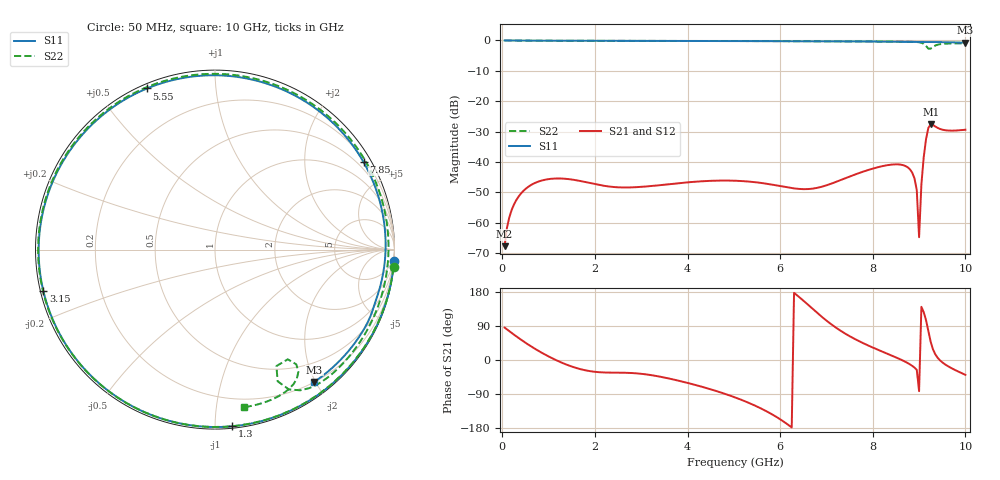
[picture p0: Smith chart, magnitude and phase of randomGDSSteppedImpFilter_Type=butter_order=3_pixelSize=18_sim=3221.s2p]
! freq	dB(S11)	phase(S11)	dB(S12)	phase(S12)
!  dB(S21)	phase(S21)	dB(S22)	phase(S22)
!S-par simulation data
#  GHz  S  DB  R 50
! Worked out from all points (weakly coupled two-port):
!   200 points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, 50 MHz to 10 GHz, reference 50 ohm
!   highest |S21| = -27.63 dB at 9.25 GHz (marker M1); lowest = -67.8 dB at 50 MHz (marker M2)
!   lowest |S11| = -0.7 dB at 10 GHz (marker M3), VSWR 24.36, Z = 10.2 - j99.2 ohm
!   |S11| at or under -10 dB: nowhere
!   |S22| runs from -2.7 to 0.0 dB; largest |S21 - S12| = 0
!   S11 on the Smith chart (normalised r, x): 50 MHz: 0, -32; 1.3 GHz: 0.01, -1.10; 3.15 GHz: 0.01, -0.12; 5.55 GHz: 0.02, +0.66; 7.85 GHz: 0.29, +3.65; 10 GHz: 0.20, -1.98
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0.05  -0.00 -3.6  -67.76 85.5  -67.76 85.5  -0.00 -5.7
0.15  -0.01 -10.6  -58.34 76.2  -58.34 76.2  -0.02 -17.0
0.4  -0.04 -27.9  -50.47 54.0  -50.47 54.0  -0.06 -44.1
0.8  -0.07 -54.4  -46.38 22.8  -46.38 22.8  -0.10 -82.4
1.3  -0.09 -84.3  -45.50 -7.9  -45.50 -7.9  -0.11 -120.4
1.75  -0.11 -108.0  -46.50 -26.0  -46.50 -26.0  -0.12 -147.3
2.4  -0.13 -137.4  -48.27 -33.4  -48.27 -33.4  -0.12 -178.7
3.15  -0.14 -166.4  -48.05 -38.7  -48.05 -38.7  -0.14 150.9
3.4  -0.15 -175.4  -47.67 -43.9  -47.67 -43.9  -0.14 141.5
5.05  -0.21 129.5  -46.22 -99.8  -46.22 -99.8  -0.19 82.8
5.55  -0.23 112.9  -46.86 -125.7  -46.86 -125.7  -0.20 65.3
6.7  -0.28 73.0  -48.81 135.2  -48.81 135.2  -0.25 25.4
7.85  -0.35 30.5  -42.92 41.1  -42.92 41.1  -0.32 -13.5
8.35  -0.40 11.3  -41.00 14.7  -41.00 14.7  -0.37 -30.3
8.85  -0.48 -8.1  -43.49 -15.3  -43.49 -15.3  -0.45 -48.5
8.95  -0.51 -12.0  -49.25 -25.8  -49.25 -25.8  -0.52 -53.1
9  -0.52 -13.9  -64.82 -82.2  -64.82 -82.2  -0.60 -55.7
9.05  -0.53 -15.8  -47.38 140.4  -47.38 140.4  -0.76 -58.8
9.1  -0.54 -17.7  -38.47 126.2  -38.47 126.2  -1.10 -62.1
9.2  -0.53 -21.4  -28.81 76.4  -28.81 76.4  -2.69 -62.2
9.25  -0.52 -23.4  -27.63 48.2  -27.63 48.2  -2.69 -56.5
10  -0.71 -53.1  -29.41 -39.1  -29.41 -39.1  -0.98 -79.6
